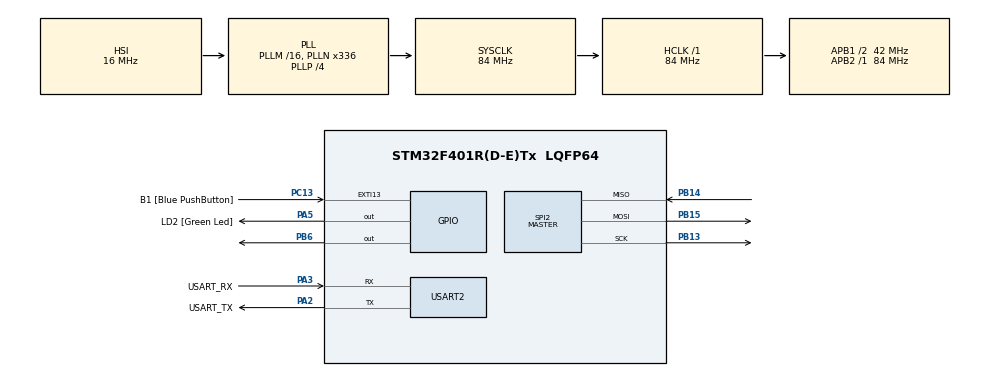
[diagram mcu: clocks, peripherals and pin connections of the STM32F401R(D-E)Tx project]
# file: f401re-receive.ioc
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Mcu.Family=STM32F4
Mcu.Name=STM32F401R(D-E)Tx
Mcu.Package=LQFP64
NVIC.PriorityGroup=NVIC_PRIORITYGROUP_4
PA13.GPIO_Label=TMS
PA13.Mode=Trace_Asynchronous_SW
PA13.Signal=SYS_JTMS-SWDIO
PA14.GPIO_Label=TCK
PA14.Mode=Trace_Asynchronous_SW
PA14.Signal=SYS_JTCK-SWCLK
PA2.GPIO_Label=USART_TX
PA2.GPIO_Mode=GPIO_MODE_AF_PP
PA2.GPIO_PuPd=GPIO_NOPULL
PA2.GPIO_Speed=GPIO_SPEED_FREQ_LOW
PA2.Mode=Asynchronous
PA2.Signal=USART2_TX
PA3.GPIO_Label=USART_RX
PA3.GPIO_Mode=GPIO_MODE_AF_PP
PA3.GPIO_PuPd=GPIO_NOPULL
PA3.GPIO_Speed=GPIO_SPEED_FREQ_LOW
PA3.Mode=Asynchronous
PA3.Signal=USART2_RX
PA5.GPIO_Label=LD2 [Green Led]
PA5.GPIO_Mode=GPIO_MODE_OUTPUT_PP
PA5.GPIO_PuPd=GPIO_NOPULL
PA5.GPIO_Speed=GPIO_SPEED_FREQ_LOW
PA5.Signal=GPIO_Output
PB13.Mode=Full_Duplex_Master
PB13.Signal=SPI2_SCK
PB14.Mode=Full_Duplex_Master
PB14.Signal=SPI2_MISO
PB15.Mode=Full_Duplex_Master
PB15.Signal=SPI2_MOSI
PB3.GPIO_Label=SWO
PB3.Mode=Trace_Asynchronous_SW
PB3.Signal=SYS_JTDO-SWO
PB6.Signal=GPIO_Output
PC13-ANTI_TAMP.GPIO_Label=B1 [Blue PushButton]
PC13-ANTI_TAMP.GPIO_ModeDefaultEXTI=GPIO_MODE_IT_FALLING
PC13-ANTI_TAMP.GPIO_PuPd=GPIO_NOPULL
PC13-ANTI_TAMP.Signal=GPXTI13
PC14-OSC32_IN.Mode=LSE-External-Oscillator
PC14-OSC32_IN.Signal=RCC_OSC32_IN
PC15-OSC32_OUT.Mode=LSE-External-Oscillator
PC15-OSC32_OUT.Signal=RCC_OSC32_OUT
PH0\ -\ OSC_IN.Mode=HSE-External-Clock-Source
PH0\ -\ OSC_IN.Signal=RCC_OSC_IN
PH1\ -\ OSC_OUT.Mode=HSE-External-Clock-Source
PH1\ -\ OSC_OUT.Signal=RCC_OSC_OUT
ProjectManager.HeapSize=0x200
ProjectManager.StackSize=0x400
ProjectManager.TargetToolchain=STM32CubeIDE
RCC.48MHZClocksFreq_Value=48000000
RCC.AHBFreq_Value=84000000
RCC.APB1CLKDivider=RCC_HCLK_DIV2
RCC.APB1Freq_Value=42000000
RCC.APB1TimFreq_Value=84000000
RCC.APB2Freq_Value=84000000
RCC.APB2TimFreq_Value=84000000
RCC.CortexFreq_Value=84000000
RCC.HCLKFreq_Value=84000000
RCC.HSE_VALUE=8000000
RCC.HSI_VALUE=16000000
RCC.PLLN=336
RCC.PLLP=RCC_PLLP_DIV4
RCC.PLLQ=7
RCC.SYSCLKFreq_VALUE=84000000
RCC.SYSCLKSource=RCC_SYSCLKSOURCE_PLLCLK
RCC.VCOOutputFreq_Value=336000000
SPI2.Direction=SPI_DIRECTION_2LINES
SPI2.Mode=SPI_MODE_MASTER
SPI2.VirtualType=VM_MASTER
USART2.VirtualMode=VM_ASYNC
board=NUCLEO-F401RE

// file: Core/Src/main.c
/* USER CODE BEGIN Header */
/**
  ******************************************************************************
  * @file           : main.c
  * @brief          : Main program body
  ******************************************************************************
  * @attention
  *
  * Copyright (c) 2026 STMicroelectronics.
  * All rights reserved.
  *
  * This software is licensed under terms that can be found in the LICENSE file
  * in the root directory of this software component.
  * If no LICENSE file comes with this software, it is provided AS-IS.
  *
  ******************************************************************************
  */
/* USER CODE END Header */
#include "main.h"

/* USER CODE BEGIN Includes */
#include "lora_sx1276.h"
/* USER CODE END Includes */

SPI_HandleTypeDef hspi2;

UART_HandleTypeDef huart2;

/* USER CODE BEGIN PV */
uint8_t buf[100] = {0};
uint8_t buf_len = 100;
/* USER CODE END PV */

void SystemClock_Config(void);
static void MX_GPIO_Init(void);
static void MX_SPI2_Init(void);
static void MX_USART2_UART_Init(void);

int main(void)
{

  /* MCU Configuration--------------------------------------------------------*/

  /* Reset of all peripherals, Initializes the Flash interface and the Systick. */
  HAL_Init();

  /* Configure the system clock */
  SystemClock_Config();

  /* Initialize all configured peripherals */
  MX_GPIO_Init();
  MX_SPI2_Init();
  MX_USART2_UART_Init();
  /* USER CODE BEGIN 2 */
  lora_sx1276 lora;

  HAL_GPIO_WritePin(GPIOA, GPIO_PIN_0, GPIO_PIN_RESET);
  HAL_Delay(.1);
  HAL_GPIO_WritePin(GPIOA, GPIO_PIN_0, GPIO_PIN_SET);
  HAL_Delay(5);

  uint8_t res = lora_init(&lora, &hspi2, GPIOB, GPIO_PIN_6, LORA_BASE_FREQUENCY_US);

  if (res != LORA_OK) {
	  printf("LoRa initialization failed!\r\n");
  }
  else {
	  uint8_t ver = lora_version(&lora);
	  printf("LoRa version: 0x%02X (%u)\r\n", ver, ver);
  }

  lora_mode_receive_continuous(&lora);
  /* USER CODE END 2 */

  /* Infinite loop */
  /* USER CODE BEGIN WHILE */
  while (1)
  {
	uint8_t len = lora_receive_packet_blocking(&lora, buffer, sizeof(buffer), 10000, &res);

	if (res == LORA_OK && len > 0) {
		HAL_UART_Transmit(&huart2, buffer, len, HAL_MAX_DELAY);
	}
    /* USER CODE END WHILE */

  }
}

void SystemClock_Config(void)
{
  RCC_OscInitTypeDef RCC_OscInitStruct = {0};
  RCC_ClkInitTypeDef RCC_ClkInitStruct = {0};

  /** Configure the main internal regulator output voltage
  */
  __HAL_RCC_PWR_CLK_ENABLE();
  __HAL_PWR_VOLTAGESCALING_CONFIG(PWR_REGULATOR_VOLTAGE_SCALE2);

  /** Initializes the RCC Oscillators according to the specified parameters
  * in the RCC_OscInitTypeDef structure.
  */
  RCC_OscInitStruct.OscillatorType = RCC_OSCILLATORTYPE_HSI;
  RCC_OscInitStruct.HSIState = RCC_HSI_ON;
  RCC_OscInitStruct.HSICalibrationValue = RCC_HSICALIBRATION_DEFAULT;
  RCC_OscInitStruct.PLL.PLLState = RCC_PLL_ON;
  RCC_OscInitStruct.PLL.PLLSource = RCC_PLLSOURCE_HSI;
  RCC_OscInitStruct.PLL.PLLM = 16;
  RCC_OscInitStruct.PLL.PLLN = 336;
  RCC_OscInitStruct.PLL.PLLP = RCC_PLLP_DIV4;
  RCC_OscInitStruct.PLL.PLLQ = 7;
  if (HAL_RCC_OscConfig(&RCC_OscInitStruct) != HAL_OK)
  {
    Error_Handler();
  }

  /** Initializes the CPU, AHB and APB buses clocks
  */
  RCC_ClkInitStruct.ClockType = RCC_CLOCKTYPE_HCLK|RCC_CLOCKTYPE_SYSCLK
                              |RCC_CLOCKTYPE_PCLK1|RCC_CLOCKTYPE_PCLK2;
  RCC_ClkInitStruct.SYSCLKSource = RCC_SYSCLKSOURCE_PLLCLK;
  RCC_ClkInitStruct.AHBCLKDivider = RCC_SYSCLK_DIV1;
  RCC_ClkInitStruct.APB1CLKDivider = RCC_HCLK_DIV2;
  RCC_ClkInitStruct.APB2CLKDivider = RCC_HCLK_DIV1;

  if (HAL_RCC_ClockConfig(&RCC_ClkInitStruct, FLASH_LATENCY_2) != HAL_OK)
  {
    Error_Handler();
  }
}

static void MX_SPI2_Init(void)
{

  /* SPI2 parameter configuration*/
  hspi2.Instance = SPI2;
  hspi2.Init.Mode = SPI_MODE_MASTER;
  hspi2.Init.Direction = SPI_DIRECTION_2LINES;
  hspi2.Init.DataSize = SPI_DATASIZE_8BIT;
  hspi2.Init.CLKPolarity = SPI_POLARITY_LOW;
  hspi2.Init.CLKPhase = SPI_PHASE_1EDGE;
  hspi2.Init.NSS = SPI_NSS_SOFT;
  hspi2.Init.BaudRatePrescaler = SPI_BAUDRATEPRESCALER_2;
  hspi2.Init.FirstBit = SPI_FIRSTBIT_MSB;
  hspi2.Init.TIMode = SPI_TIMODE_DISABLE;
  hspi2.Init.CRCCalculation = SPI_CRCCALCULATION_DISABLE;
  hspi2.Init.CRCPolynomial = 10;
  if (HAL_SPI_Init(&hspi2) != HAL_OK)
  {
    Error_Handler();
  }

}

static void MX_USART2_UART_Init(void)
{

  huart2.Instance = USART2;
  huart2.Init.BaudRate = 115200;
  huart2.Init.WordLength = UART_WORDLENGTH_8B;
  huart2.Init.StopBits = UART_STOPBITS_1;
  huart2.Init.Parity = UART_PARITY_NONE;
  huart2.Init.Mode = UART_MODE_TX_RX;
  huart2.Init.HwFlowCtl = UART_HWCONTROL_NONE;
  huart2.Init.OverSampling = UART_OVERSAMPLING_16;
  if (HAL_UART_Init(&huart2) != HAL_OK)
  {
    Error_Handler();
  }

}

static void MX_GPIO_Init(void)
{
  GPIO_InitTypeDef GPIO_InitStruct = {0};

  /* GPIO Ports Clock Enable */
  __HAL_RCC_GPIOC_CLK_ENABLE();
  __HAL_RCC_GPIOH_CLK_ENABLE();
  __HAL_RCC_GPIOA_CLK_ENABLE();
  __HAL_RCC_GPIOB_CLK_ENABLE();

  /*Configure GPIO pin Output Level */
  HAL_GPIO_WritePin(LD2_GPIO_Port, LD2_Pin, GPIO_PIN_RESET);

  /*Configure GPIO pin Output Level */
  HAL_GPIO_WritePin(GPIOB, GPIO_PIN_6, GPIO_PIN_RESET);

  /*Configure GPIO pin : B1_Pin */
  GPIO_InitStruct.Pin = B1_Pin;
  GPIO_InitStruct.Mode = GPIO_MODE_IT_FALLING;
  GPIO_InitStruct.Pull = GPIO_NOPULL;
  HAL_GPIO_Init(B1_GPIO_Port, &GPIO_InitStruct);

  /*Configure GPIO pin : LD2_Pin */
  GPIO_InitStruct.Pin = LD2_Pin;
  GPIO_InitStruct.Mode = GPIO_MODE_OUTPUT_PP;
  GPIO_InitStruct.Pull = GPIO_NOPULL;
  GPIO_InitStruct.Speed = GPIO_SPEED_FREQ_LOW;
  HAL_GPIO_Init(LD2_GPIO_Port, &GPIO_InitStruct);

  /*Configure GPIO pin : PB6 */
  GPIO_InitStruct.Pin = GPIO_PIN_6;
  GPIO_InitStruct.Mode = GPIO_MODE_OUTPUT_PP;
  GPIO_InitStruct.Pull = GPIO_NOPULL;
  GPIO_InitStruct.Speed = GPIO_SPEED_FREQ_LOW;
  HAL_GPIO_Init(GPIOB, &GPIO_InitStruct);

}

/* USER CODE BEGIN 4 */
int _write(int fd, char* ptr, int len)
{
  HAL_UART_Transmit(&huart3, (uint8_t*) ptr, len, HAL_MAX_DELAY);
  return len;
}
/* USER CODE END 4 */

void Error_Handler(void)
{
  /* USER CODE BEGIN Error_Handler_Debug */
  /* User can add his own implementation to report the HAL error return state */
  __disable_irq();
  uint8_t err_buf[] = "Oops!\r\n";
  uint8_t err_buf_len = sizeof(err_buf) / 8;

  while (1)
  {
	  HAL_UART_Transmit(&huart2, (uint8_t*) err_buf, err_buf_len, HAL_MAX_DELAY);
  }
  /* USER CODE END Error_Handler_Debug */
}
